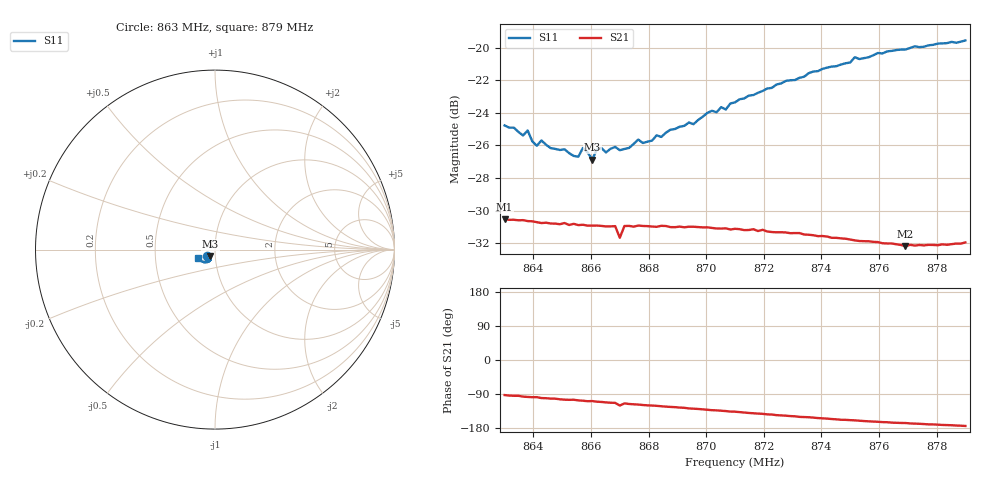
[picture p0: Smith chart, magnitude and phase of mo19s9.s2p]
# HZ S RI R 50
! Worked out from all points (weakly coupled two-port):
!   101 points, 863 MHz to 879 MHz, reference 50 ohm
!   highest |S21| = -30.52 dB at 863 MHz (marker M1); lowest = -32.2 dB at 876.92 MHz (marker M2)
!   lowest |S11| = -26.9 dB at 866.04 MHz (marker M3), VSWR 1.10, Z = 47.3 - j3.49 ohm
!   |S11| at or under -10 dB: start of sweep to end of sweep
!   S12 and S22 are empty: the file has one direction only
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8.63e8  -0.047 -0.0335  -0.00133 -0.0298  0 0  0 0
8.6364e8  -0.042 -0.0336  -0.00341 -0.0294  0 0  0 0
8.638e8  -0.0438 -0.0344  -0.00383 -0.0291  0 0  0 0
8.6412e8  -0.0377 -0.0329  -0.00408 -0.0289  0 0  0 0
8.6428e8  -0.0383 -0.0351  -0.00527 -0.0285  0 0  0 0
8.646e8  -0.0357 -0.0338  -0.00593 -0.0283  0 0  0 0
8.6556e8  -0.0308 -0.0346  -0.00817 -0.0274  0 0  0 0
8.6572e8  -0.0314 -0.038  -0.00858 -0.0273  0 0  0 0
8.6604e8  -0.0265 -0.0368  -0.00894 -0.027  0 0  0 0
8.662e8  -0.0295 -0.0386  -0.00973 -0.0268  0 0  0 0
8.6652e8  -0.0269 -0.0394  -0.0105 -0.0263  0 0  0 0
8.6684e8  -0.0271 -0.0415  -0.0111 -0.0261  0 0  0 0
8.67e8  -0.0232 -0.0425  -0.0131 -0.0226  0 0  0 0
8.6716e8  -0.0245 -0.0423  -0.0118 -0.0258  0 0  0 0
8.6764e8  -0.0259 -0.0454  -0.0132 -0.0252  0 0  0 0
8.678e8  -0.0241 -0.0449  -0.0137 -0.0249  0 0  0 0
8.6844e8  -0.024 -0.0475  -0.0151 -0.0241  0 0  0 0
8.71e8  -0.0292 -0.0613  -0.0201 -0.0192  0 0  0 0
8.7372e8  -0.0458 -0.0709  -0.0235 -0.0125  0 0  0 0
8.7644e8  -0.0714 -0.0667  -0.0243 -0.00637  0 0  0 0
8.7692e8  -0.0755 -0.0634  -0.0239 -0.00583  0 0  0 0
8.79e8  -0.0927 -0.0495  -0.0251 -0.0026  0 0  0 0
